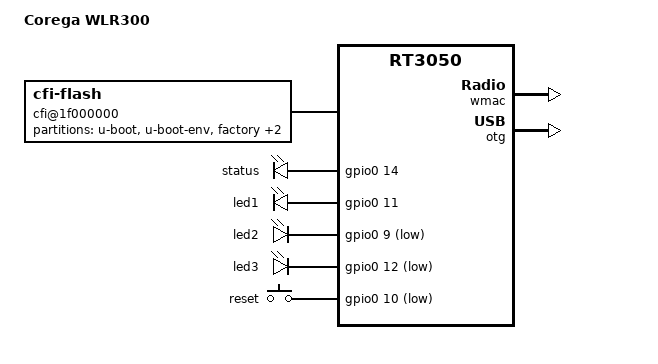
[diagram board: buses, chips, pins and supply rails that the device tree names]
/dts-v1/;

#include <dt-bindings/gpio/tegra-gpio.h>
#include "rt3050.dtsi"

/ {
	compatible = "WLR300", "ralink,rt3050-soc";
	model = "Corega WLR300";

	cfi@1f000000 {
		compatible = "cfi-flash";
		reg = <0x1f000000 0x800000>;
		bank-width = <2>;
		device-width = <2>;
		#address-cells = <1>;
		#size-cells = <1>;

		partition@0 {
			label = "u-boot";
			reg = <0x0 0x30000>;
			read-only;
		};

		partition@30000 {
			label = "u-boot-env";
			reg = <0x30000 0x10000>;
			read-only;
		};

		factory: partition@40000 {
			label = "factory";
			reg = <0x40000 0x10000>;
			read-only;
		};

		partition@50000 {
			label = "kernel";
			reg = <0x50000 0x120000>;
		};

		partition@160000 {
			label = "rootfs";
			reg = <0x170000 0x690000>;
		};
	};

	gpio-leds {
		compatible = "gpio-leds";

		status {
			label = "status";
			gpios = <&gpio0 14 0>;
		};

		led1 {
			label = "led1";
			gpios = <&gpio0 11 0>;
		};

		led2 {
			label = "led2";
			gpios = <&gpio0 9 1>;
		};

		led3 {
			label = "led3";
			gpios = <&gpio0 12 1>;
		};

	};
	gpio-keys-polled {
		compatible = "gpio-keys-polled";
		#address-cells = <1>;
		#size-cells = <0>;
		poll-interval = <20>;

		reset {
			label = "reset";
			gpios = <&gpio0 10 1>;
			linux,code = <0x198>;
		};

	};
};

&pinctrl {
	state_default: pinctrl0 {
		gpio {
			ralink,group = "i2c", "jtag", "uartf", "rgmii", "mdio";
			ralink,function = "gpio";
		};

	};
};

&ethernet {
//	mtd-mac-address = <&factory 0x28>;
};

&esw {
	mediatek,portmap = <0x2f>;
};

&wmac {
//	ralink,mtd-eeprom = <&factory 0>;
};

&otg {
	status = "okay";
};

/*

&spi1 {
	status = "okay";
	cs-gpios = <&gpio0 18 GPIO_ACTIVE_LOW>;
	non-flash;
	spigen@0 {
		compatible = "freebsd,spigen";
		spi-max-frequency = <10000000>;
		status = "okay";
	};
};

*/
